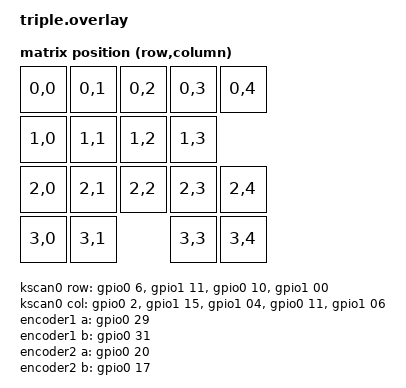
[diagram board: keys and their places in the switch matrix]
#include <dt-bindings/zmk/matrix_transform.h>
/ {
	chosen {
		zmk,kscan = &kscan0;
        zmk,physical-layout = &physical_layout0;
        // zmk,matrix_transform = &default_transform;
	};
    default_transform: keymap_transform_0 {
		compatible = "zmk,matrix-transform";
        columns = <5>;
        rows = <4>;
            map = <
        RC(0,0) RC(0,1) RC(0,2) RC(0,3) RC(0,4)
        RC(1,0) RC(1,1) RC(1,2) RC(1,3)
        RC(2,0) RC(2,1) RC(2,2) RC(2,3) RC(2,4)
        RC(3,0) RC(3,1)         RC(3,3) RC(3,4)
            >;
	};
    kscan0: kscan_0 {
        compatible = "zmk,kscan-gpio-matrix";
        label = "KSCAN";
        diode-direction = "col2row";
        wakeup-source;
        row-gpios
                = <&gpio0 6 GPIO_ACTIVE_HIGH>
                , <&gpio1 11 GPIO_ACTIVE_HIGH>
                , <&gpio0 10 GPIO_ACTIVE_HIGH>
                , <&gpio1 00 GPIO_ACTIVE_HIGH>
                ;
        col-gpios
                = <&gpio0 2 (GPIO_ACTIVE_HIGH | GPIO_PULL_DOWN)>
                , <&gpio1 15 (GPIO_ACTIVE_HIGH | GPIO_PULL_DOWN)>
                , <&gpio1 04 (GPIO_ACTIVE_HIGH | GPIO_PULL_DOWN)>
                , <&gpio0 11 (GPIO_ACTIVE_HIGH | GPIO_PULL_DOWN)>
                , <&gpio1 06 (GPIO_ACTIVE_HIGH | GPIO_PULL_DOWN)>
                ;
	};

    encoder1: encoder_1 {
        compatible = "alps,ec11";
        label = "ENCODER_1";
        a-gpios = <&gpio0 29 (GPIO_ACTIVE_HIGH | GPIO_PULL_UP)>;
        b-gpios = <&gpio0 31 (GPIO_ACTIVE_HIGH | GPIO_PULL_UP)>;
        resolution = <4>;
        status = "okay";
    };
    
    encoder2: encoder_2 {
        compatible = "alps,ec11";
        label = "ENCODER_2";
        a-gpios = <&gpio0 20 (GPIO_ACTIVE_HIGH | GPIO_PULL_UP)>;
        b-gpios = <&gpio0 17 (GPIO_ACTIVE_HIGH | GPIO_PULL_UP)>;
        resolution = <4>;
        status = "okay";
    };

    encoder3: encoder_3 {
        compatible = "alps,ec11";
        label = "ENCODER_3";
        a-gpios = <&gpio0 24 (GPIO_ACTIVE_HIGH | GPIO_PULL_UP)>;
        b-gpios = <&gpio0 22 (GPIO_ACTIVE_HIGH | GPIO_PULL_UP)>;
        resolution = <4>;
        status = "okay";
    };

    sensors {
        compatible = "zmk,keymap-sensors";
        sensors = <&encoder1 &encoder2 &encoder3>;
    };

};

